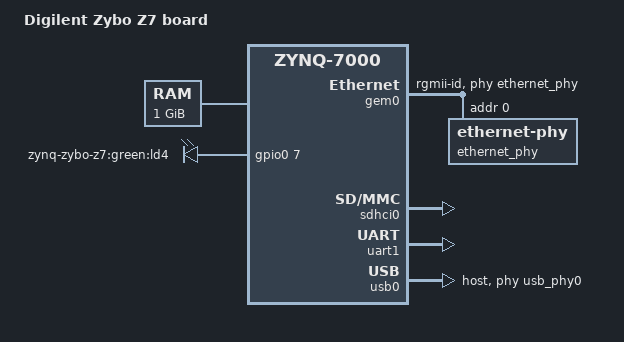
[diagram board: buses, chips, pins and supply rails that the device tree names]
// SPDX-License-Identifier: GPL-2.0+
/dts-v1/;
#include "zynq-7000.dtsi"
#include <dt-bindings/gpio/gpio.h>

/ {
	model = "Digilent Zybo Z7 board";
	compatible = "digilent,zynq-zybo-z7", "xlnx,zynq-7000";

	aliases {
		ethernet0 = &gem0;
		serial0 = &uart1;
	};

	memory@0 {
		device_type = "memory";
		reg = <0x0 0x40000000>;
	};

	chosen {
		bootargs = "console=ttyPS0,115200 root=/dev/mmcblk0p2 rw earlyprintk rootfstype=ext4 rootwait devtmpfs.mount=1 uio_pdrv_genirq.of_id=generic-uio earlycon";
		stdout-path = "serial0:115200n8";
	};

	gpio-leds {
		compatible = "gpio-leds";

		ld4 {
			label = "zynq-zybo-z7:green:ld4";
			gpios = <&gpio0 7 GPIO_ACTIVE_HIGH>;
		};
	};

	usb_phy0: phy0 {
		//#phy-cells = <0>;
		//compatible = "usb-nop-xceiv";
		//reset-gpios = <&gpio0 46 GPIO_ACTIVE_LOW>;
        	compatible = "ulpi-phy";
        	#phy-cells = <0>;
        	reg = <0xe0002000 0x1000>;
        	view-port = <0x0170>;
        	drv-vbus;
	};
};

&clkc {
	ps-clk-frequency = <33333333>;
};

&gem0 {
	status = "okay";
	phy-mode = "rgmii-id";
	phy-handle = <&ethernet_phy>;

	ethernet_phy: ethernet-phy@0 {
		reg = <0>;
		device_type = "ethernet-phy";
	};
};

&sdhci0 {
	status = "okay";
};

&uart1 {
	status = "okay";
};

&usb0 {
	//status = "okay";
	//dr_mode = "host";
	//usb-phy = <&usb_phy0>;
    	compatible = "xlnx,zynq-usb-2.20a", "chipidea,usb2";
    	status = "okay";
    	clocks = <0x1 0x1c>;
    	dr_mode = "host";
    	interrupt-parent = <0x4>;
    	interrupts = <0x0 0x15 0x4>;
    	reg = <0xe0002000 0x1000>;
    	usb-phy = <&usb_phy0>;
};
